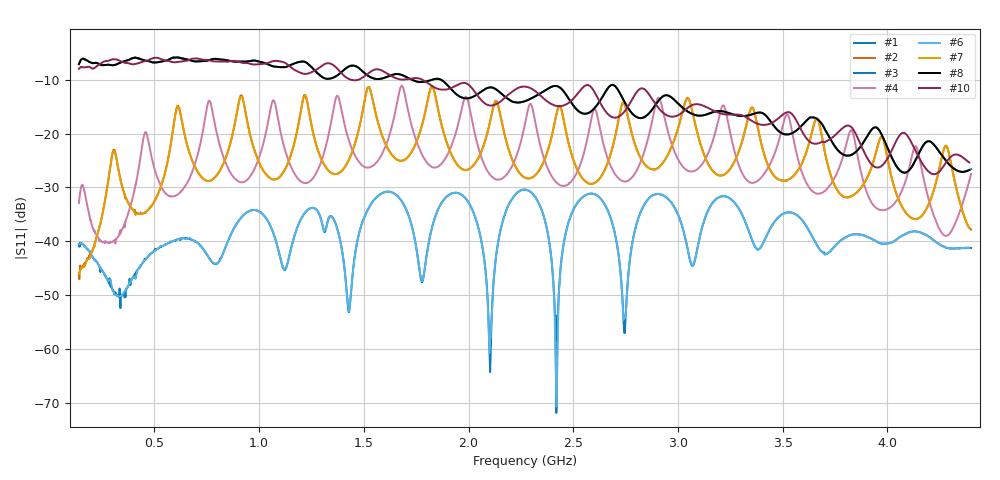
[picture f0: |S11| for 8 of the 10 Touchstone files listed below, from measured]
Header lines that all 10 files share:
# MHz S MA R 50.0
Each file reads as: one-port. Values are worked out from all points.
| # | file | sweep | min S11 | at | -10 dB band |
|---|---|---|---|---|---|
| 1 | MesureLoadPort2.s1p | 140 MHz to 4.399 GHz | -71.9 dB | 2.419 GHz | over 4.259 GHz wide |
| 2 | MesureOpen.s1p | 140 MHz to 4.399 GHz | -47.0 dB | 142 MHz | over 4.259 GHz wide |
| 3 | MesureOpenPort2.s1p | 140 MHz to 4.399 GHz | -27.3 dB | 4.083 GHz | over 2.53 GHz wide |
| 4 | MesureShort.s1p | 140 MHz to 4.399 GHz | -40.4 dB | 314 MHz | over 4.259 GHz wide |
| 5 | MesureShortPort2.s1p | 140 MHz to 4.399 GHz | -27.6 dB | 4.224 GHz | over 2.619 GHz wide |
| 6 | TempMesureLoadPort2.s1p | 140 MHz to 4.39 GHz | -70.7 dB | 2.42 GHz | over 4.25 GHz wide |
| 7 | TempMesureopen.s1p | 140 MHz to 4.39 GHz | -46.1 dB | 140 MHz | over 4.25 GHz wide |
| 8 | TempMesureOpenPort2.s1p | 140 MHz to 4.39 GHz | -27.3 dB | 4.08 GHz | over 2.521 GHz wide |
| 9 | TempMesureshort.s1p | 140 MHz to 4.39 GHz | -40.3 dB | 280 MHz | over 4.25 GHz wide |
| 10 | TempMesureShortPort2.s1p | 140 MHz to 4.39 GHz | -27.5 dB | 4.22 GHz | over 2.61 GHz wide |
